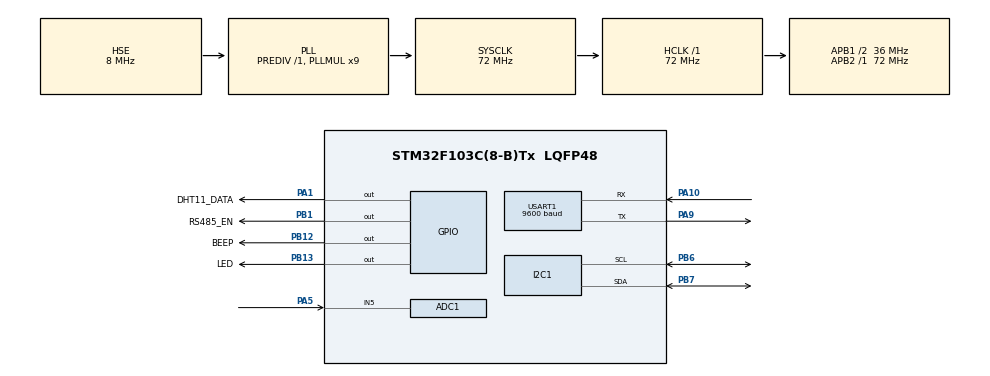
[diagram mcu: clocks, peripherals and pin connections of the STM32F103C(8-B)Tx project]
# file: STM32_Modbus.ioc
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ADC1.Channel-0\#ChannelRegularConversion=ADC_CHANNEL_5
ADC1.NbrOfConversionFlag=1
ADC1.Rank-0\#ChannelRegularConversion=1
ADC1.SamplingTime-0\#ChannelRegularConversion=ADC_SAMPLETIME_1CYCLE_5
ADC1.master=1
Dma.Request0=USART1_RX
Dma.Request1=USART1_TX
Dma.USART1_RX.0.Direction=DMA_PERIPH_TO_MEMORY
Dma.USART1_RX.0.Instance=DMA1_Channel5
Dma.USART1_RX.0.MemDataAlignment=DMA_MDATAALIGN_BYTE
Dma.USART1_RX.0.MemInc=DMA_MINC_ENABLE
Dma.USART1_RX.0.Mode=DMA_NORMAL
Dma.USART1_RX.0.PeriphDataAlignment=DMA_PDATAALIGN_BYTE
Dma.USART1_RX.0.PeriphInc=DMA_PINC_DISABLE
Dma.USART1_RX.0.Priority=DMA_PRIORITY_LOW
Dma.USART1_TX.1.Direction=DMA_MEMORY_TO_PERIPH
Dma.USART1_TX.1.Instance=DMA1_Channel4
Dma.USART1_TX.1.MemDataAlignment=DMA_MDATAALIGN_BYTE
Dma.USART1_TX.1.MemInc=DMA_MINC_ENABLE
Dma.USART1_TX.1.Mode=DMA_NORMAL
Dma.USART1_TX.1.PeriphDataAlignment=DMA_PDATAALIGN_BYTE
Dma.USART1_TX.1.PeriphInc=DMA_PINC_DISABLE
Dma.USART1_TX.1.Priority=DMA_PRIORITY_LOW
I2C1.I2C_Mode=I2C_Standard
Mcu.Family=STM32F1
Mcu.Name=STM32F103C(8-B)Tx
Mcu.Package=LQFP48
NVIC.DMA1_Channel4_IRQn=true\:0\:0\:false\:false\:true\:false\:true\:true
NVIC.DMA1_Channel5_IRQn=true\:0\:0\:false\:false\:true\:false\:true\:true
NVIC.PriorityGroup=NVIC_PRIORITYGROUP_4
NVIC.USART1_IRQn=true\:0\:0\:false\:false\:true\:true\:true\:true
PA1.GPIO_Label=DHT11_DATA
PA1.Signal=GPIO_Output
PA10.Mode=Asynchronous
PA10.Signal=USART1_RX
PA13.Mode=Serial_Wire
PA13.Signal=SYS_JTMS-SWDIO
PA14.Mode=Serial_Wire
PA14.Signal=SYS_JTCK-SWCLK
PA5.Signal=ADCx_IN5
PA9.Mode=Asynchronous
PA9.Signal=USART1_TX
PB1.GPIO_Label=RS485_EN
PB1.Signal=GPIO_Output
PB12.GPIO_Label=BEEP
PB12.PinState=GPIO_PIN_SET
PB12.Signal=GPIO_Output
PB13.GPIO_Label=LED
PB13.PinState=GPIO_PIN_SET
PB13.Signal=GPIO_Output
PB6.Mode=I2C
PB6.Signal=I2C1_SCL
PB7.Mode=I2C
PB7.Signal=I2C1_SDA
PC14-OSC32_IN.Mode=LSE-External-Oscillator
PC14-OSC32_IN.Signal=RCC_OSC32_IN
PC15-OSC32_OUT.Mode=LSE-External-Oscillator
PC15-OSC32_OUT.Signal=RCC_OSC32_OUT
PD0-OSC_IN.Mode=HSE-External-Oscillator
PD0-OSC_IN.Signal=RCC_OSC_IN
PD1-OSC_OUT.Mode=HSE-External-Oscillator
PD1-OSC_OUT.Signal=RCC_OSC_OUT
ProjectManager.HeapSize=0x200
ProjectManager.StackSize=0x400
ProjectManager.TargetToolchain=MDK-ARM V5.32
RCC.ADCPresc=RCC_ADCPCLK2_DIV6
RCC.AHBFreq_Value=72000000
RCC.APB1CLKDivider=RCC_HCLK_DIV2
RCC.APB1Freq_Value=36000000
RCC.APB1TimFreq_Value=72000000
RCC.APB2Freq_Value=72000000
RCC.APB2TimFreq_Value=72000000
RCC.HCLKFreq_Value=72000000
RCC.PLLMUL=RCC_PLL_MUL9
RCC.PLLSourceVirtual=RCC_PLLSOURCE_HSE
RCC.SYSCLKFreq_VALUE=72000000
RCC.SYSCLKSource=RCC_SYSCLKSOURCE_PLLCLK
RCC.USBFreq_Value=72000000
SH.ADCx_IN5.0=ADC1_IN5,IN5
TIM3.Prescaler=71
USART1.BaudRate=9600
USART1.VirtualMode=VM_ASYNC
VP_TIM3_VS_ClockSourceINT.Mode=Internal
board=custom

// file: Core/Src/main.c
/* USER CODE BEGIN Header */
/**
 ******************************************************************************
 * @file           : main.c
 * @brief          : Main program body
 ******************************************************************************
 * @attention
 *
 * Copyright (c) 2026 STMicroelectronics.
 * All rights reserved.
 *
 * This software is licensed under terms that can be found in the LICENSE file
 * in the root directory of this software component.
 * If no LICENSE file comes with this software, it is provided AS-IS.
 *
 ******************************************************************************
 */
/* USER CODE END Header */
#include "main.h"
#include "adc.h"
#include "dma.h"
#include "gpio.h"
#include "i2c.h"
#include "tim.h"
#include "usart.h"

/* USER CODE BEGIN Includes */
#include "CRC.h"
#include "dht11.h"
#include "font.h"
#include "modbus.h"
#include "oled.h"
#include "param.h"
#include <stdio.h>
#include <string.h>

/* USER CODE END Includes */

/* USER CODE BEGIN PV */
volatile uint8_t Modbus_Frame_Flag = 0;
volatile uint16_t Modbus_RX_Length = 0;

DHT11_Data_TypeDef DHT11_Data;

uint16_t g_adc_value = 0;
float g_adc_voltage = 0.0f;

uint32_t g_last_sample_tick = 0;
uint32_t g_last_oled_tick = 0;

uint8_t g_temp_alarm_active = 0;      // 温度报警激活标志
uint8_t g_humi_alarm_active = 0;      // 湿度报警激活标志
uint8_t g_led_blink_state = 0;        // LED当前闪烁状态
uint8_t g_prev_alarm_active = 0;      // 上一次总报警状态
uint32_t g_last_led_blink_tick = 0;   // LED闪烁计时

uint16_t g_last_slave_addr = 0;
uint16_t g_last_temp_alarm_high = 0;
uint16_t g_last_humi_alarm_high = 0;
/* USER CODE END PV */

void SystemClock_Config(void);
/* USER CODE BEGIN PFP */
void Device_Data_Update(void);
void Device_Control_Update(void);
void Device_Alarm_Update(void);
void OLED_Display_Update(void);
/* USER CODE END PFP */

/* USER CODE BEGIN 0 */
void HAL_UARTEx_RxEventCallback(UART_HandleTypeDef *huart, uint16_t Size) {
  if (huart->Instance == USART1) {
    if (Size > 0) {
      Modbus_RX_Length = Size;
      Modbus_Frame_Flag = 1;
    }
  }
}

void Device_Data_Update(void) {
  HAL_ADC_Start(&hadc1);
  HAL_ADC_PollForConversion(&hadc1, HAL_MAX_DELAY);
  g_adc_value = HAL_ADC_GetValue(&hadc1);
  g_adc_voltage = (g_adc_value / 4095.0f) * 3.3f;

  Modbus_Register[REG_ADC_RAW] = g_adc_value;
  Modbus_Register[REG_ADC_VOLTAGE] = (uint16_t)(g_adc_voltage * 100);

  if (DHT11_Read_TempAndHumidity(&DHT11_Data) == 0) {
    Modbus_Register[REG_TEMP_VALUE] = (uint16_t)(DHT11_Data.temperature * 10);
    Modbus_Register[REG_HUMI_VALUE] = (uint16_t)(DHT11_Data.humidity * 10);
    Modbus_Register[REG_SENSOR_STATE] = 0;
  } else {
    Modbus_Register[REG_TEMP_VALUE] = 0;
    Modbus_Register[REG_HUMI_VALUE] = 0;
    Modbus_Register[REG_SENSOR_STATE] = 1;
  }
}

void Device_Control_Update(void) {
  /* LED控制 */
  if (g_temp_alarm_active ||
      g_humi_alarm_active) // 温度或湿度报警时，LED强制闪烁，不能手动控制
  {
    if (HAL_GetTick() - g_last_led_blink_tick >= 300) {
      g_last_led_blink_tick = HAL_GetTick();
      g_led_blink_state = !g_led_blink_state;
    }

    if (g_led_blink_state)
      HAL_GPIO_WritePin(LED_GPIO_Port, LED_Pin, GPIO_PIN_RESET);
    else
      HAL_GPIO_WritePin(LED_GPIO_Port, LED_Pin, GPIO_PIN_SET);
  } else {
    // 无温度或湿度报警时，LED恢复手动控制
    if (Modbus_Register[REG_LED_CTRL])
      HAL_GPIO_WritePin(LED_GPIO_Port, LED_Pin, GPIO_PIN_RESET);
    else
      HAL_GPIO_WritePin(LED_GPIO_Port, LED_Pin, GPIO_PIN_SET);
  }

  /* 蜂鸣器控制 */
  if (g_temp_alarm_active || g_humi_alarm_active) {
    // 报警期间允许手动关闭蜂鸣器
    if (Modbus_Register[REG_BEEP_CTRL])
      HAL_GPIO_WritePin(BEEP_GPIO_Port, BEEP_Pin, GPIO_PIN_RESET);
    else
      HAL_GPIO_WritePin(BEEP_GPIO_Port, BEEP_Pin, GPIO_PIN_SET);
  } else {
    // 无报警时按普通手动控制
    if (Modbus_Register[REG_BEEP_CTRL])
      HAL_GPIO_WritePin(BEEP_GPIO_Port, BEEP_Pin, GPIO_PIN_RESET);
    else
      HAL_GPIO_WritePin(BEEP_GPIO_Port, BEEP_Pin, GPIO_PIN_SET);
  }
}

void Device_Alarm_Update(void) {
  uint8_t alarm_active = 0;

  Modbus_Register[REG_ALARM_FLAG] = 0;
  g_temp_alarm_active = 0;
  g_humi_alarm_active = 0;

  if (Modbus_Register[REG_TEMP_VALUE] > Modbus_Register[REG_TEMP_ALARM_HIGH]) {
    Modbus_Register[REG_ALARM_FLAG] |= 0x0001;
    g_temp_alarm_active = 1;
  }

  if (Modbus_Register[REG_HUMI_VALUE] > Modbus_Register[REG_HUMI_ALARM_HIGH]) {
    Modbus_Register[REG_ALARM_FLAG] |= 0x0002;
    g_humi_alarm_active = 1;
  }

  alarm_active = (g_temp_alarm_active || g_humi_alarm_active);

  // 温度或湿度报警刚发生时，自动打开蜂鸣器
  if (alarm_active && (g_prev_alarm_active == 0)) {
    Modbus_Register[REG_BEEP_CTRL] = 1; // 默认响
    g_led_blink_state = 1;              // 一进报警先亮
    g_last_led_blink_tick = HAL_GetTick();
  }

  // 所有报警都解除时，清闪烁状态
  if ((!alarm_active) && g_prev_alarm_active) {
    g_led_blink_state = 0;
  }

  g_prev_alarm_active = alarm_active;
}

void OLED_Display_Update(void) {
  char buf[50];

  OLED_NewFrame();

  // 第1行：温度 + 温度阈值
  sprintf(buf, "T:%2d.%d", Modbus_Register[REG_TEMP_VALUE] / 10,
          Modbus_Register[REG_TEMP_VALUE] % 10);
  OLED_PrintString(0, 0, buf, &font16x16, OLED_COLOR_NORMAL);

  sprintf(buf, "TH:%2d.%d", Modbus_Register[REG_TEMP_ALARM_HIGH] / 10,
          Modbus_Register[REG_TEMP_ALARM_HIGH] % 10);
  OLED_PrintString(64, 0, buf, &font16x16, OLED_COLOR_NORMAL);

  // 第2行：湿度 + 湿度阈值
  sprintf(buf, "H:%2d.%d", Modbus_Register[REG_HUMI_VALUE] / 10,
          Modbus_Register[REG_HUMI_VALUE] % 10);
  OLED_PrintString(0, 16, buf, &font16x16, OLED_COLOR_NORMAL);

  sprintf(buf, "HH:%2d.%d", Modbus_Register[REG_HUMI_ALARM_HIGH] / 10,
          Modbus_Register[REG_HUMI_ALARM_HIGH] % 10);
  OLED_PrintString(64, 16, buf, &font16x16, OLED_COLOR_NORMAL);

  // 第3行：报警标志 + 通讯状态
  sprintf(buf, "AL:%02X", Modbus_Register[REG_ALARM_FLAG]);
  OLED_PrintString(0, 32, buf, &font16x16, OLED_COLOR_NORMAL);

  sprintf(buf, "C:%s", (Modbus_Register[REG_COMM_STATE] == 0) ? "OK" : "ER");
  OLED_PrintString(64, 32, buf, &font16x16, OLED_COLOR_NORMAL);

  // 第4行：LED状态 + 蜂鸣器状态 + 电压
  if (g_temp_alarm_active || g_humi_alarm_active)
    sprintf(buf, "L:FLA");
  else
    sprintf(buf, "L:%s", Modbus_Register[REG_LED_CTRL] ? "1" : "0");
  OLED_PrintString(0, 48, buf, &font16x16, OLED_COLOR_NORMAL);

  sprintf(buf, "B:%s", Modbus_Register[REG_BEEP_CTRL] ? "1" : "0");
  OLED_PrintString(40, 48, buf, &font16x16, OLED_COLOR_NORMAL);

  // 电压
  sprintf(buf, "V:%1.1f", g_adc_voltage);
  OLED_PrintString(80, 48, buf, &font16x16, OLED_COLOR_NORMAL);

  OLED_ShowFrame();
}
/* USER CODE END 0 */

int main(void) {

  /* MCU Configuration--------------------------------------------------------*/

  /* Reset of all peripherals, Initializes the Flash interface and the Systick.
   */
  HAL_Init();

  /* Configure the system clock */
  SystemClock_Config();

  /* Initialize all configured peripherals */
  MX_GPIO_Init();
  MX_DMA_Init();
  MX_I2C1_Init();
  MX_ADC1_Init();
  MX_USART1_UART_Init();
  MX_TIM3_Init();
  /* USER CODE BEGIN 2 */
  HAL_TIM_Base_Start(&htim3);          // DHT11微秒延时用
  HAL_ADCEx_Calibration_Start(&hadc1); // ADC校准
  HAL_Delay(50);
  OLED_Init();
  Modbus_Register_Init();
  Param_LoadToRegister(); // 从Flash恢复参数
  g_last_slave_addr = Modbus_Register[REG_SLAVE_ADDR];
  g_last_temp_alarm_high = Modbus_Register[REG_TEMP_ALARM_HIGH];
  g_last_humi_alarm_high = Modbus_Register[REG_HUMI_ALARM_HIGH];

  HAL_UARTEx_ReceiveToIdle_DMA(&huart1, Modbus_RX_Buffer,
                               sizeof(Modbus_RX_Buffer));
  __HAL_DMA_DISABLE_IT(huart1.hdmarx, DMA_IT_HT);
  /* USER CODE END 2 */

  /* Infinite loop */
  /* USER CODE BEGIN WHILE */
  while (1) {
    if (HAL_GetTick() - g_last_sample_tick >= 1000) {
      g_last_sample_tick = HAL_GetTick();

      Device_Data_Update();
      Device_Alarm_Update();
    }

    /* 每次循环都更新输出，LED闪烁 */
    Device_Control_Update();

    if (HAL_GetTick() - g_last_oled_tick >= 500) {
      g_last_oled_tick = HAL_GetTick();
      OLED_Display_Update();
    }

    if (Modbus_Register[REG_SLAVE_ADDR] != g_last_slave_addr ||
        Modbus_Register[REG_TEMP_ALARM_HIGH] != g_last_temp_alarm_high ||
        Modbus_Register[REG_HUMI_ALARM_HIGH] != g_last_humi_alarm_high) {
      g_last_slave_addr = Modbus_Register[REG_SLAVE_ADDR];
      g_last_temp_alarm_high = Modbus_Register[REG_TEMP_ALARM_HIGH];
      g_last_humi_alarm_high = Modbus_Register[REG_HUMI_ALARM_HIGH];

      Param_RequestSave();
    }

    if (g_param_need_save && (HAL_GetTick() - g_param_save_tick >= 2000)) {
      g_param_need_save = 0;
      Param_SaveFromRegister();
    }

    if (Modbus_Frame_Flag) {
      Modbus_Frame_Flag = 0;

      if (Modbus_Server() == 1)
        Modbus_Register[REG_COMM_STATE] = 0;
      else
        Modbus_Register[REG_COMM_STATE] = 1;

      memset(Modbus_RX_Buffer, 0, sizeof(Modbus_RX_Buffer));
      Modbus_RX_Length = 0;

      HAL_UARTEx_ReceiveToIdle_DMA(&huart1, Modbus_RX_Buffer,
                                   sizeof(Modbus_RX_Buffer));
      __HAL_DMA_DISABLE_IT(huart1.hdmarx, DMA_IT_HT);
    }
    /* USER CODE END WHILE */

  }
}

void SystemClock_Config(void) {
  RCC_OscInitTypeDef RCC_OscInitStruct = {0};
  RCC_ClkInitTypeDef RCC_ClkInitStruct = {0};
  RCC_PeriphCLKInitTypeDef PeriphClkInit = {0};

  /** Initializes the RCC Oscillators according to the specified parameters
   * in the RCC_OscInitTypeDef structure.
   */
  RCC_OscInitStruct.OscillatorType = RCC_OSCILLATORTYPE_HSE;
  RCC_OscInitStruct.HSEState = RCC_HSE_ON;
  RCC_OscInitStruct.HSEPredivValue = RCC_HSE_PREDIV_DIV1;
  RCC_OscInitStruct.HSIState = RCC_HSI_ON;
  RCC_OscInitStruct.PLL.PLLState = RCC_PLL_ON;
  RCC_OscInitStruct.PLL.PLLSource = RCC_PLLSOURCE_HSE;
  RCC_OscInitStruct.PLL.PLLMUL = RCC_PLL_MUL9;
  if (HAL_RCC_OscConfig(&RCC_OscInitStruct) != HAL_OK) {
    Error_Handler();
  }

  /** Initializes the CPU, AHB and APB buses clocks
   */
  RCC_ClkInitStruct.ClockType = RCC_CLOCKTYPE_HCLK | RCC_CLOCKTYPE_SYSCLK |
                                RCC_CLOCKTYPE_PCLK1 | RCC_CLOCKTYPE_PCLK2;
  RCC_ClkInitStruct.SYSCLKSource = RCC_SYSCLKSOURCE_PLLCLK;
  RCC_ClkInitStruct.AHBCLKDivider = RCC_SYSCLK_DIV1;
  RCC_ClkInitStruct.APB1CLKDivider = RCC_HCLK_DIV2;
  RCC_ClkInitStruct.APB2CLKDivider = RCC_HCLK_DIV1;

  if (HAL_RCC_ClockConfig(&RCC_ClkInitStruct, FLASH_LATENCY_2) != HAL_OK) {
    Error_Handler();
  }
  PeriphClkInit.PeriphClockSelection = RCC_PERIPHCLK_ADC;
  PeriphClkInit.AdcClockSelection = RCC_ADCPCLK2_DIV6;
  if (HAL_RCCEx_PeriphCLKConfig(&PeriphClkInit) != HAL_OK) {
    Error_Handler();
  }
}

void Error_Handler(void) {
  __disable_irq();
  while (1) {
  }
}
#ifdef USE_FULL_ASSERT
/**
 * @brief  Reports the name of the source file and the source line number
 *         where the assert_param error has occurred.
 * @param  file: pointer to the source file name
 * @param  line: assert_param error line source number
 * @retval None
 */
void assert_failed(uint8_t *file, uint32_t line) {
  /* USER CODE BEGIN 6 */
  /* User can add his own implementation to report the file name and line
     number, ex: printf("Wrong parameters value: file %s on line %d\r\n", file,
     line) */
  /* USER CODE END 6 */
}
#endif /* USE_FULL_ASSERT */
